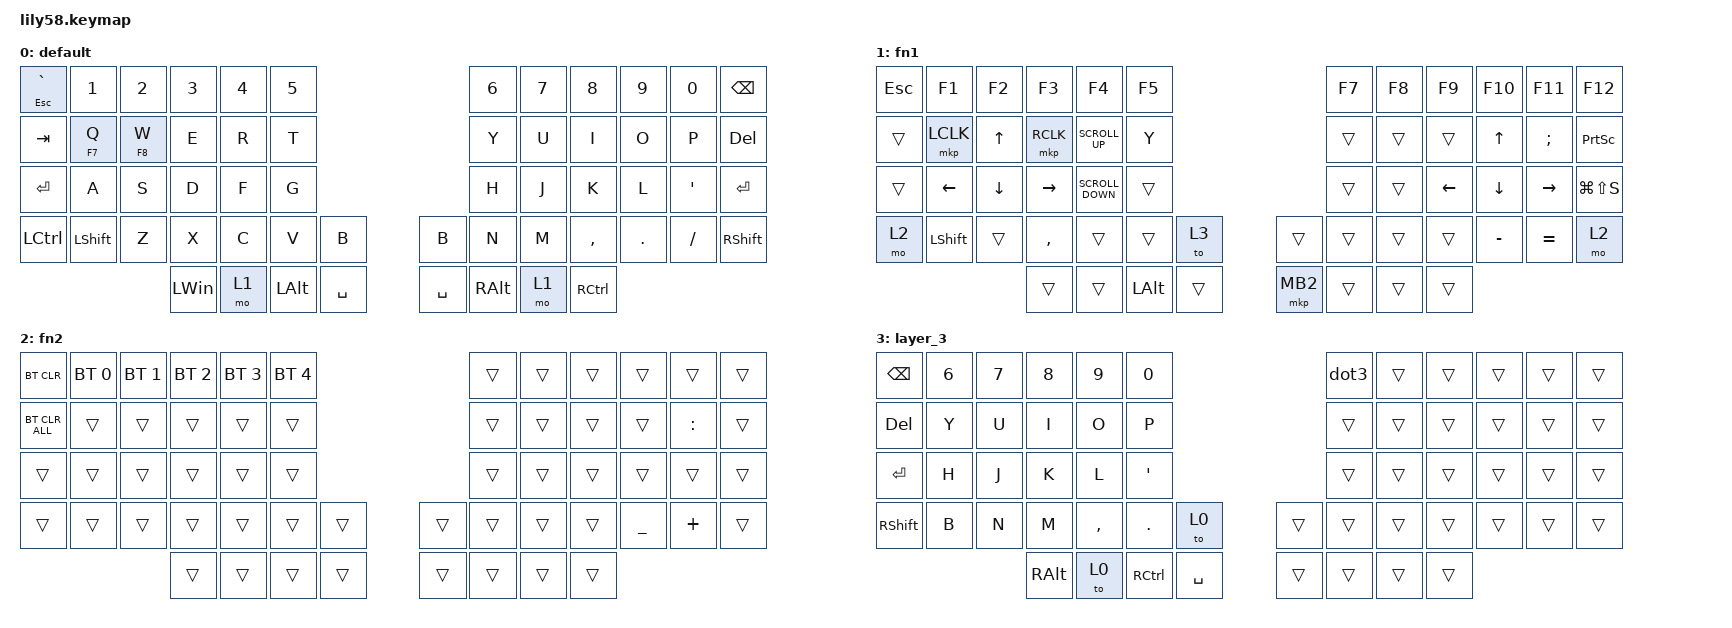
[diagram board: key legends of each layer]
/*
 * Copyright (c) 2020 The ZMK Contributors
 *
 * SPDX-License-Identifier: MIT
 */
// 키맵에디터 사용을위한 파일임. 수정하고 나서 boards-sheilds-lily58의 키맵 파일에 수동으로 업데이트해줄것

#include <dt-bindings/zmk/mouse.h>
#include <behaviors.dtsi>
#include <dt-bindings/zmk/bt.h>
#include <dt-bindings/zmk/keys.h>

// 모드탭 시간조절

&mt { 
tapping-term-ms = <300>; 
quick-tap-ms = <200>;
};

/ {
    combos {
        compatible = "zmk,combos";

        three {
            bindings = <&to 3>;
            key-positions = <53 42>;
            timeout-ms = <50>;
            layers = <0>;
        };

        threestick {
            bindings = <&sl 3>;
            key-positions = <53 25>;
            timeout-ms = <50>;
            layers = <0>;
        };

        Nkey {
            bindings = <&kp N>;
            key-positions = <53 37>;
            timeout-ms = <50>;
            layers = <0>;
        };

        leftbackdouble {
            bindings = <&kp BACKSPACE>;
            key-positions = <0 1>;
            timeout-ms = <50>;
            layers = <0>;
        };

        leftdeletedouble {
            bindings = <&kp DELETE>;
            key-positions = <12 13>;
            timeout-ms = <50>;
            layers = <0>;
        };

        f1double {
            bindings = <&kp F1>;
            key-positions = <13 1>;
            timeout-ms = <50>;
            layers = <0>;
        };

        f2double {
            bindings = <&kp F2>;
            key-positions = <2 14>;
            timeout-ms = <50>;
            layers = <0>;
        };

        f3double {
            bindings = <&kp F3>;
            key-positions = <3 15>;
            timeout-ms = <50>;
            layers = <0>;
        };

        f4double {
            bindings = <&kp F4>;
            key-positions = <4 16>;
            timeout-ms = <50>;
            layers = <0>;
        };

        f5double {
            bindings = <&kp F5>;
            key-positions = <5 17>;
            timeout-ms = <50>;
            layers = <0>;
        };

        hangeuldouble {
            bindings = <&kp RIGHT_ALT>;
            key-positions = <50 51>;
            timeout-ms = <50>;
            layers = <0>;
        };

        hanjadouble {
            bindings = <&kp RCTRL>;
            key-positions = <51 52>;
            timeout-ms = <50>;
            layers = <0>;
        };

        leftdouble6 {
            bindings = <&kp NUMBER_6>;
            key-positions = <1 2>;
            timeout-ms = <50>;
            layers = <0>;
        };

        leftdouble7 {
            bindings = <&kp N7>;
            key-positions = <2 3>;
            timeout-ms = <50>;
            layers = <0>;
        };

        leftdouble8 {
            bindings = <&kp N8>;
            key-positions = <4 3>;
            timeout-ms = <50>;
            layers = <0>;
        };

        leftdouble9 {
            bindings = <&kp N9>;
            key-positions = <4 5>;
            timeout-ms = <50>;
            layers = <0>;
        };

        leftdouble0 {
            bindings = <&kp N0>;
            key-positions = <17 5 16 4>;
            timeout-ms = <50>;
            layers = <0>;
        };

        leftlcikcombo {
            bindings = <&kp F7>;
            key-positions = <25 13>;
            timeout-ms = <50>;
            layers = <0>;
        };

        leftwheelcombo {
            bindings = <&kp F8>;
            key-positions = <14 26>;
            timeout-ms = <50>;
            layers = <0>;
        };

        dot3 {
            bindings = <&dot3>;
            key-positions = <47 57>;
            timeout-ms = <50>;
            layers = <0>;
        };

        closeprogram {
            bindings = <&kp LA(F4)>;
            key-positions = <52 51 4>;
            timeout-ms = <50>;
            layers = <0>;
        };
    };

    macros {
        dot3: dot3 {
            compatible = "zmk,behavior-macro";
            #binding-cells = <0>;
            bindings =
                <&macro_press>,
                <&kp LEFT_ALT>,
                <&macro_wait_time 10>,
                <&macro_tap>,
                <&kp KP_NUMBER_4 &kp KP_NUMBER_1 &kp KP_NUMBER_3 &kp KP_NUMBER_8 &kp KP_NUMBER_2>,
                <&macro_release>,
                <&kp LEFT_ALT>;

            label = "DOT3";
        };
    };

    keymap {
        compatible = "zmk,keymap";

        // 첫번째 레이어

        default_layer {
            display-name = "default";
            bindings = <
&mt ESCAPE GRAVE  &kp N1          &kp N2    &kp N3     &kp N4  &kp N5             &kp N6         &kp N7  &kp N8  &kp N9  &kp N0     &kp BACKSPACE
&kp TAB           &mt F7 Q            &mt F8 W     &kp E      &kp R   &kp T              &kp Y          &kp U   &kp I   &kp O   &kp P      &kp DELETE
&kp ENTER         &kp A           &kp S     &kp D      &kp F   &kp G              &kp H          &kp J   &kp K   &kp L   &kp SQT    &kp ENTER
&kp LCTRL         &kp LEFT_SHIFT  &kp Z     &kp X      &kp C   &kp V              &kp B          &kp B   &kp N   &kp M   &kp COMMA  &kp DOT        &kp FSLH  &kp RSHFT
&kp LEFT_WIN      &mo 1           &kp LALT  &kp SPACE                  &kp SPACE  &kp RIGHT_ALT                  &mo 1   &kp RCTRL
            >;
        };

        //두번째 레이어

        fn1 {
            display-name = "fn1";
            bindings = <
&kp ESCAPE  &kp F1          &kp F2          &kp F3     &kp F4             &kp F5            &kp F7  &kp F8  &kp F9          &kp F10       &kp F11          &kp F12
&trans      &mkp LCLK       &kp UP_ARROW    &mkp RCLK  &kp K_SCROLL_UP    &kp Y             &trans  &trans  &trans          &kp UP_ARROW  &kp SEMI         &kp PRINTSCREEN
&trans      &kp LEFT_ARROW  &kp DOWN_ARROW  &kp RIGHT  &kp K_SCROLL_DOWN  &trans            &trans  &trans  &kp LEFT_ARROW  &kp DOWN      &kp RIGHT_ARROW  &kp LG(LS(S))
&mo 2       &kp LEFT_SHIFT  &trans          &kp COMMA  &trans             &trans            &to 3   &trans  &trans          &trans        &trans           &kp MINUS        &kp EQUAL  &mo 2
&trans      &trans          &kp LEFT_ALT    &trans                                &mkp MB2  &trans                          &trans        &trans
            >;
        };

        //세번째 레이어

        fn2 {
            display-name = "fn2";
            bindings = <
&bt BT_CLR      &bt BT_SEL 0  &bt BT_SEL 1  &bt BT_SEL 2  &bt BT_SEL 3  &bt BT_SEL 4          &trans  &trans  &trans  &trans  &trans     &trans
&bt BT_CLR_ALL  &trans        &trans        &trans        &trans        &trans                &trans  &trans  &trans  &trans  &kp COLON  &trans
&trans          &trans        &trans        &trans        &trans        &trans                &trans  &trans  &trans  &trans  &trans     &trans
&trans          &trans        &trans        &trans        &trans        &trans                &trans  &trans  &trans  &trans  &trans     &kp UNDER  &kp PLUS  &trans
&trans          &trans        &trans        &trans                                    &trans  &trans                  &trans  &trans
            >;
        };

        //네번째 레이어

        layer_3 {
            bindings = <
&kp BACKSPACE    &kp NUMBER_6  &kp NUMBER_7  &kp N8     &kp N9     &kp N0                  &dot3   &trans  &trans  &trans  &trans  &trans
&kp DELETE       &kp Y         &kp U         &kp I      &kp O      &kp P                   &trans  &trans  &trans  &trans  &trans  &trans
&kp ENTER        &kp H         &kp J         &kp K      &kp L      &kp APOSTROPHE          &trans  &trans  &trans  &trans  &trans  &trans
&kp RIGHT_SHIFT  &kp B         &kp N         &kp M      &kp COMMA  &kp PERIOD              &to 0   &trans  &trans  &trans  &trans  &trans  &trans  &trans
&kp RIGHT_ALT    &to 0         &kp RCTRL     &kp SPACE                             &trans  &trans                  &trans  &trans
            >;
        };
    };
};
